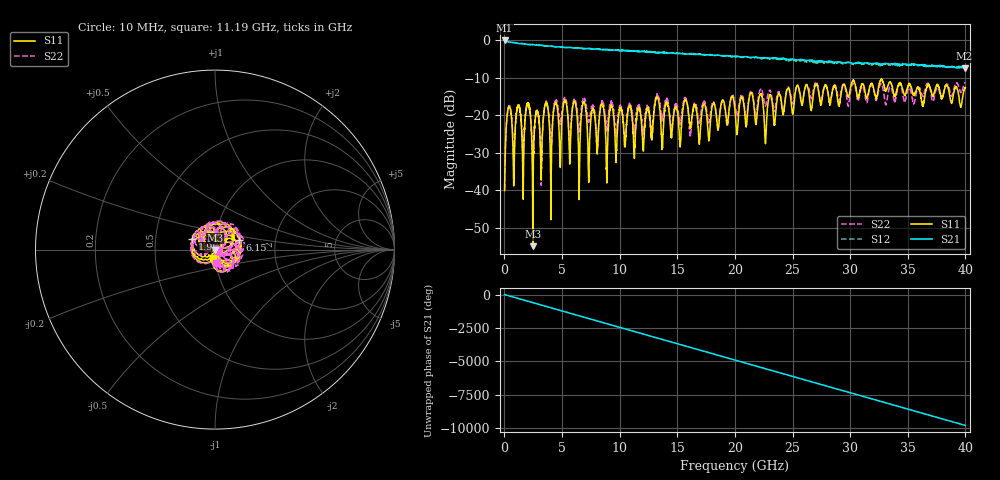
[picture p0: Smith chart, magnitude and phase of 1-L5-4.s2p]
! 2/21/2025 7:02:13 AM
! Z:\OQC\AD5\613\LOT-141-0825\SINGLE\1-L5-4.S2P
! CHANNEL.1
! TR.MEASUREMENT
! CORRECTED.DATA
! RF.CORRECTION: FULL.FOUR.PORT.CAL.PORT.1.2.3.4
! AVERAGING.OFF
! IF.BANDWIDTH: 1KHZ
! SWEEPTYPE:  FREQ.SWEEP(Linear)
! Reference Plane Port Info
! PORT:  PORT1  PORT2
! DISTANCE:  0  m  0  m
! TIME:  0  s  0  s
! PHASE.OFFSET:  0 °  0 °
! LOSS:  0  dB  0  dB
! REF.LOSS:  0  dB  0  dB
! REF.FREQ:  0  Hz  0  Hz
! Power Info
! POWER:  -10  dBm  -10  dBm
! EFF.POWER:  -10  dBm  -10  dBm
! SOURCE.ATTEN:  0  dB  0  dB
! TEST.ATTEN:  0  dB  0  dB
# GHZ S RI R 50.0
! FREQ.GHZ  S11RE  S11IM  S21RE  S21IM  S12RE  S12IM  S22RE  S22IM
!; PortSelection: Port_12
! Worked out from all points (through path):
!   4000 points, 10 MHz to 40 GHz, reference 50 ohm
!   highest |S21| = -0.09 dB at 10 MHz (marker M1); lowest = -7.5 dB at 39.93 GHz (marker M2)
!   group delay of S21, straight-line fit = 678 ps
!   lowest |S11| = -54.9 dB at 2.46 GHz (marker M3), VSWR 1.00, Z = 49.9 - j0.164 ohm
!   |S11| at or under -10 dB: start of sweep to end of sweep
!   |S22| runs from -39.9 to -11.2 dB; largest |S21 - S12| = 0.039
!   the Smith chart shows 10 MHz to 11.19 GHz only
!   S11 on the Smith chart (normalised r, x): 10 MHz: 1.02, -0.00; 1.96 GHz: 0.77, +0.09; 6.15 GHz: 1.31, +0.14; 11.19 GHz: 0.97, -0.10
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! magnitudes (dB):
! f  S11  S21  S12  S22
! 10 MHz  -40.1  -0.1  -0.1  -39.9
! 370 MHz  -17.8  -0.5  -0.5  -17.6
! 800 MHz  -38.8  -0.6  -0.7  -31.2
! 1.25 GHz  -17.3  -0.9  -0.9  -17.3
! 1.62 GHz  -42.4  -0.9  -0.9  -30.2
! 1.96 GHz  -16.9  -1.1  -1.1  -17.5
! 2.46 GHz  -54.9  -1.2  -1.2  -32.9
! 3.6 GHz  -16.7  -1.6  -1.6  -16.8
! 4.02 GHz  -40.0  -1.6  -1.6  -27.9
! 4.41 GHz  -16.8  -1.8  -1.7  -16.2
! 4.83 GHz  -33.3  -1.8  -1.8  -22.5
! 6.15 GHz  -16.7  -2.1  -2.1  -15.9
! 6.43 GHz  -30.4  -2.1  -2.1  -23.2
! 6.68 GHz  -19.3  -2.2  -2.2  -18.0
! 11.19 GHz  -25.9  -2.9  -2.9  -22.6
! 13.34 GHz  -15.7  -3.4  -3.3  -15.1
! 13.7 GHz  -28.3  -3.3  -3.3  -20.7
! 20.01 GHz  -19.2  -4.3  -4.4  -17.1
! 26.67 GHz  -17.9  -5.3  -5.7  -15.4
! 33.34 GHz  -11.6  -6.3  -6.6  -13.4
! 39.93 GHz  -12.8  -7.5  -7.2  -11.6
! 40 GHz  -12.6  -7.5  -7.2  -11.2
